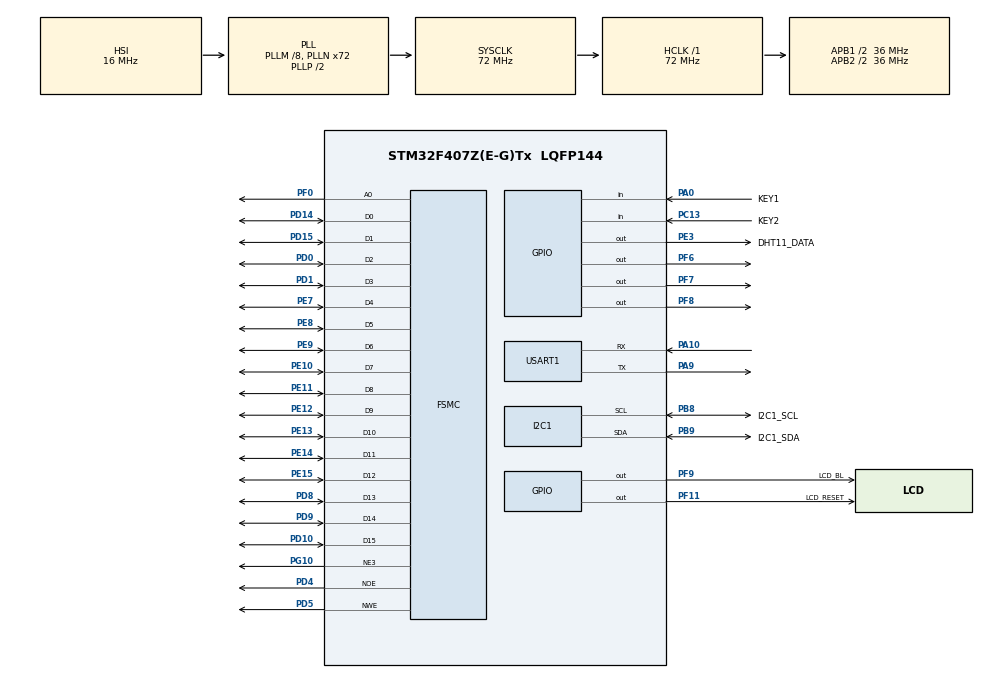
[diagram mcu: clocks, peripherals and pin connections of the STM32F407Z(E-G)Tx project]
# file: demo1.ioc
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FSMC.AddressSetupTime1=0
FSMC.BusTurnAroundDuration1=0
FSMC.DataSetupTime1=26
FSMC.ExtendedAddressSetupTime1=0
FSMC.ExtendedBusTurnAroundDuration1=0
FSMC.ExtendedDataSetupTime1=1
FSMC.ExtendedMode1=FSMC_EXTENDED_MODE_ENABLE
Mcu.Family=STM32F4
Mcu.Name=STM32F407Z(E-G)Tx
Mcu.Package=LQFP144
NVIC.PriorityGroup=NVIC_PRIORITYGROUP_4
NVIC.TIM3_IRQn=true\:0\:0\:false\:false\:true\:true\:true\:true
NVIC.USART1_IRQn=true\:0\:0\:false\:false\:true\:true\:true\:true
PA0-WKUP.GPIO_Label=KEY1
PA0-WKUP.Signal=GPIO_Input
PA10.Mode=Asynchronous
PA10.Signal=USART1_RX
PA9.Mode=Asynchronous
PA9.Signal=USART1_TX
PB8.GPIO_Label=I2C1_SCL
PB8.Mode=I2C
PB8.Signal=I2C1_SCL
PB9.GPIO_Label=I2C1_SDA
PB9.Mode=I2C
PB9.Signal=I2C1_SDA
PC13-ANTI_TAMP.GPIO_Label=KEY2
PC13-ANTI_TAMP.Signal=GPIO_Input
PD0.Signal=FSMC_D2_DA2
PD1.Signal=FSMC_D3_DA3
PD10.Signal=FSMC_D15_DA15
PD14.Signal=FSMC_D0_DA0
PD15.Signal=FSMC_D1_DA1
PD4.Signal=FSMC_NOE
PD5.Signal=FSMC_NWE
PD8.Signal=FSMC_D13_DA13
PD9.Signal=FSMC_D14_DA14
PE10.Signal=FSMC_D7_DA7
PE11.Signal=FSMC_D8_DA8
PE12.Signal=FSMC_D9_DA9
PE13.Signal=FSMC_D10_DA10
PE14.Signal=FSMC_D11_DA11
PE15.Signal=FSMC_D12_DA12
PE3.GPIO_Label=DHT11_DATA
PE3.Signal=GPIO_Output
PE7.Signal=FSMC_D4_DA4
PE8.Signal=FSMC_D5_DA5
PE9.Signal=FSMC_D6_DA6
PF0.Signal=FSMC_A0
PF11.GPIO_Label=LCD_RESET
PF11.Signal=GPIO_Output
PF6.Signal=GPIO_Output
PF7.Signal=GPIO_Output
PF8.Signal=GPIO_Output
PF9.GPIO_Label=LCD_BL
PF9.Signal=GPIO_Output
PG10.Mode=NorPsramChipSelect3_1
PG10.Signal=FSMC_NE3
ProjectManager.HeapSize=0x200
ProjectManager.StackSize=0x400
ProjectManager.TargetToolchain=STM32CubeIDE
RCC.48MHZClocksFreq_Value=36000000
RCC.AHBFreq_Value=72000000
RCC.APB1CLKDivider=RCC_HCLK_DIV2
RCC.APB1Freq_Value=36000000
RCC.APB1TimFreq_Value=72000000
RCC.APB2CLKDivider=RCC_HCLK_DIV2
RCC.APB2Freq_Value=36000000
RCC.APB2TimFreq_Value=72000000
RCC.CortexFreq_Value=72000000
RCC.HCLKFreq_Value=72000000
RCC.HSE_VALUE=25000000
RCC.HSI_VALUE=16000000
RCC.LSE_VALUE=32768
RCC.PLLM=8
RCC.PLLN=72
RCC.SYSCLKFreq_VALUE=72000000
RCC.SYSCLKSource=RCC_SYSCLKSOURCE_PLLCLK
RCC.VCOOutputFreq_Value=144000000
SH.FSMC_A0.0=FSMC_A0,A0_1
SH.FSMC_D0_DA0.0=FSMC_D0,16b-d1
SH.FSMC_D10_DA10.0=FSMC_D10,16b-d1
SH.FSMC_D11_DA11.0=FSMC_D11,16b-d1
SH.FSMC_D12_DA12.0=FSMC_D12,16b-d1
SH.FSMC_D13_DA13.0=FSMC_D13,16b-d1
SH.FSMC_D14_DA14.0=FSMC_D14,16b-d1
SH.FSMC_D15_DA15.0=FSMC_D15,16b-d1
SH.FSMC_D1_DA1.0=FSMC_D1,16b-d1
SH.FSMC_D2_DA2.0=FSMC_D2,16b-d1
SH.FSMC_D3_DA3.0=FSMC_D3,16b-d1
SH.FSMC_D4_DA4.0=FSMC_D4,16b-d1
SH.FSMC_D5_DA5.0=FSMC_D5,16b-d1
SH.FSMC_D6_DA6.0=FSMC_D6,16b-d1
SH.FSMC_D7_DA7.0=FSMC_D7,16b-d1
SH.FSMC_D8_DA8.0=FSMC_D8,16b-d1
SH.FSMC_D9_DA9.0=FSMC_D9,16b-d1
SH.FSMC_NOE.0=FSMC_NOE,Lcd1
SH.FSMC_NWE.0=FSMC_NWE,Lcd1
TIM3.Prescaler=71
USART1.VirtualMode=VM_ASYNC
VP_TIM3_VS_ClockSourceINT.Mode=Internal
board=custom

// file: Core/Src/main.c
/* USER CODE BEGIN Header */
/**
  ******************************************************************************
  * @file           : main.c
  * @brief          : Main program body
  ******************************************************************************
  * @attention
  *
  * Copyright (c) 2022 STMicroelectronics.
  * All rights reserved.
  *
  * This software is licensed under terms that can be found in the LICENSE file
  * in the root directory of this software component.
  * If no LICENSE file comes with this software, it is provided AS-IS.
  *
  ******************************************************************************
  */
/* USER CODE END Header */
#include "main.h"
#include "i2c.h"
#include "tim.h"
#include "usart.h"
#include "gpio.h"
#include "fsmc.h"

/* USER CODE BEGIN Includes */
#include "D:\Clion-STM32-FILMs\demo1\Drivers\LED\led.h"
#include "D:\Clion-STM32-FILMs\demo1\Drivers\FONT\font.h"
#include "D:\Clion-STM32-FILMs\demo1\Drivers\LCD\lcd.h"
#include "stdio.h"
#include "string.h"

#include "D:\Clion-STM32-FILMs\demo1\Drivers\KEY\key.h"
#include "D:\Clion-STM32-FILMs\demo1\Drivers\DHT11\dht11.h"
#include "D:\Clion-STM32-FILMs\demo1\Drivers\MPU6050\mpu6050.h"
#include "D:\Clion-STM32-FILMs\demo1\Drivers\MPU6050\eMPL\inv_mpu.h"
/* USER CODE END Includes */

void SystemClock_Config(void);

/* USER CODE BEGIN 0 */

#ifdef __GNUC__
#define PUTCHAR_PROTOTYPE int __io_putchar(int ch)
#else
#define PUTCHAR_PROTOTYPE int fputc(int ch, FILE *f)
#endif /* __GNUC__ */

PUTCHAR_PROTOTYPE
{
    HAL_UART_Transmit(&huart1 , (uint8_t *)&ch, 1, 0xFFFF);

    //HAL_UART_Receive_IT(&huart1, (uint8_t *)&ch, 1);
    return ch;
}

void LCD_Test(void)
{
    /*演示显示变量*/
    static uint8_t testCNT = 0;
    testCNT++;

    LCD_SetFont(&Font16x32);
    LCD_SetColors(RED,WHITE);

    NT35510_Clear(0,0,LCD_X_LENGTH,LCD_Y_LENGTH);	/* 清屏，显示全�??????? */
    /********显示字符串示�???????*******/
    NT35510_DispStringLine_EN(LINE(0),"YH 4.3 inch LCD");
    NT35510_DispStringLine_EN(LINE(1),"resolution:480x800px");
    NT35510_DispStringLine_EN(LINE(2),"LCD driver:NT35510");
    NT35510_DispStringLine_EN(LINE(3),"Touch driver:GT917S");
    LCD_SetTextColor(BLACK);
    NT35510_DispStringLine_EN(LINE(4),"LCD READY!");

    /********显示变量示例*******/
    LCD_SetTextColor(GREEN);

    /*使用c标准库把变量转化成字符串*/
//    sprintf(dispBuff,"Count : %d ",testCNT);
//    NT35510_ClearLine(LINE(6));	/* 清除单行文字 */

    /*然后显示该字符串即可，其它变量也是这样处�???????*/
//    NT35510_DispStringLine_EN(LINE(6),dispBuff);
//    LCD_SetTextColor(BLUE2);
    /*******显示图形示例******/
    /* 画直�??????? */

//    NT35510_ClearLine(LINE(10));/* 清除单行文字 */
//    LCD_SetTextColor(CYAN);
//
//    NT35510_DispStringLine_EN(LINE(10),"You are");

//	LCD_SetTextColor(RED);
//  NT35510_DrawLine(50,270,420,275);
//  NT35510_DrawLine(50,300,420,375);
//
//	LCD_SetTextColor(GREEN);
//  NT35510_DrawLine(50,370,420,475);
//  NT35510_DrawLine(50,400,420,475);
//
//	LCD_SetTextColor(BLUE);
//  NT35510_DrawLine(50,420,420,325);
//  NT35510_DrawLine(50,450,420,395);
//
//    HAL_Delay(100);

//  NT35510_Clear(0,32*7,LCD_X_LENGTH,LCD_Y_LENGTH-32*7);	/* 清屏，显示全�??????? */

    /*画矩�???????*/

//    NT35510_ClearLine(LINE(10));	/* 清除单行文字 */
//    LCD_SetTextColor(GRED);
//
//    NT35510_DispStringLine_EN(LINE(10),"MY");

//	LCD_SetTextColor(RED);
//  NT35510_DrawRectangle(50,300,200,100,1);
//
//	LCD_SetTextColor(GREEN);
//  NT35510_DrawRectangle(100,300,200,120,0);
//
//	LCD_SetTextColor(BLUE);
//  NT35510_DrawRectangle(250,300,200,150,1);
//
//
//    HAL_Delay(100);

//	NT35510_Clear(0,32*7,LCD_X_LENGTH,LCD_Y_LENGTH-32*7);	/* 清屏，显示全�??????? */

    /* 画圆 */
//    NT35510_ClearLine(LINE(10));	/* 清除单行文字 */
//    LCD_SetTextColor(MAGENTA);
//
//    NT35510_DispStringLine_EN(LINE(10),"Little Baby Girl");

//	LCD_SetTextColor(RED);
//	NT35510_DrawCircle(150,400,60,1);

//	LCD_SetTextColor(GREEN);
//	NT35510_DrawCircle(250,400,60,0);

//	LCD_SetTextColor(BLUE);
//	NT35510_DrawCircle(350,400,60,1);

//    HAL_Delay(100);

//  NT35510_Clear(0,32*7,LCD_X_LENGTH,LCD_Y_LENGTH-32*7);	/* 清屏，显示全�??????? */

}

void User_init()
{
    LED_G_OFF();
    LED_B_OFF();
    LED_R_OFF();
    NT35510_Init();
}

/* USER CODE END 0 */

int main(void)
{
  /* USER CODE BEGIN 1 */
    uint8_t key_flag=0;
    //***********************  dht11  ***************************

    uint8_t temperature = 1;                     //温度�??
    uint8_t humidity = 1;                        //湿度�??

    char* CntState = "No Connect!\r\n";          //连接状�??
    uint8_t aTxBuffer_tem[50];                       //打印温度信息
    uint8_t aTxBuffer_hum[50];                       //打印湿度信息
    uint8_t key=0;
    //***********************  mpu6050  ***************************
    float pitch,roll,yaw; 		//欧拉�?
    short aacx,aacy,aacz;		//加�?�度传感器原始数�?
    short gyrox,gyroy,gyroz;	//�?螺仪原始数据
    float temp;					//温度

    char *aTxBuffer_atti[30];     //声明sprintf的存储数�?

    /* USER CODE END 1 */

  /* MCU Configuration--------------------------------------------------------*/

  /* Reset of all peripherals, Initializes the Flash interface and the Systick. */
  HAL_Init();

  /* Configure the system clock */
  SystemClock_Config();

  /* Initialize all configured peripherals */
  MX_GPIO_Init();
  MX_FSMC_Init();
  MX_TIM3_Init();
  MX_USART1_UART_Init();
  MX_I2C1_Init();
  /* USER CODE BEGIN 2 */
  //*****************  dht11 ***********************************
    DHT11_Rst();                                   //复位DHT11
    while(DHT11_Check())                           //�??测DHT11连接
    {
        HAL_UART_Transmit(&huart1, CntState, strlen(CntState), 200);
        HAL_Delay(500);
    }
    CntState = "Success!\r\n";
    HAL_UART_Transmit(&huart1, CntState, strlen(CntState), 200);
    LCD_SetTextColor(BLACK);
    NT35510_DispStringLine_EN(LINE(6),"DHT11 INIT OK!");

    User_init();

    LCD_Test();
    printf("init OK!\r\n");
    LCD_SetTextColor(BLACK);
    NT35510_DispStringLine_EN(LINE(5),"INIT OK!");
    //******************  mpu6050  **********************************
    HAL_UART_Transmit(&huart1, "UART1 Ready!\r\n", sizeof("UART1 Ready!\r\n"),200);
    LCD_SetTextColor(BLACK);
    NT35510_DispStringLine_EN(LINE(7),"MPU6050 INIT OK!");

    while(MPU_Init());					//初始化MPU6050
    while(mpu_dmp_init())
    {
        HAL_Delay(200);
        HAL_UART_Transmit(&huart1, "MPU6050 Init Wrong!\r\n", sizeof("MPU6050 Init Wrong!\r\n"),200);
    }
    HAL_UART_Transmit(&huart1, "MPU6050 Init OK!\r\n", sizeof("MPU6050 Init OK!\r\n"),200);
  /* USER CODE END 2 */

  /* Infinite loop */
  while (1) {

    /* USER CODE BEGIN 3 */
      DHT11_Read_Data(&humidity, &temperature);                        //�??测出温湿度的�??
      sprintf(aTxBuffer_tem, "temperature:%d ^C\r\n", temperature);         //打印温度的�??
      sprintf(aTxBuffer_hum, "humidity:%d%%\r\n", humidity);         //打印湿度的�??

      key = KEY_Scan(0);
      if (key)
      {
          NT35510_ClearLine(LINE(0));
          NT35510_ClearLine(LINE(1));
          NT35510_ClearLine(LINE(2));
          NT35510_ClearLine(LINE(3));
          NT35510_ClearLine(LINE(4));
          NT35510_ClearLine(LINE(5));
          if (key == KEY1_PRES) {
              key_flag=0;
              LED_R_ON();
              LED_G_OFF();
              printf("KEY1 ON \r\nshow temperature & humidity:\r\n");
              printf(aTxBuffer_tem);
              printf(aTxBuffer_hum);
              printf("-------------------------------------------\r\n");
              printf("\r\n");

              LCD_SetTextColor(MAGENTA);
              NT35510_ClearLine(LINE(6));
              NT35510_DispStringLine_EN(LINE(6),"KEY1 ON");
              NT35510_ClearLine(LINE(7));
              NT35510_DispStringLine_EN(LINE(7),"show temperature & humidity:");
              NT35510_ClearLine(LINE(8));
              NT35510_DispStringLine_EN(LINE(8),"please check in Serial Monitor!");
          }
          else if (key == KEY2_PRES)
          {
              key_flag=1;
              LED_G_ON();
              LED_R_OFF();
              printf("KEY2 ON \r\nshow attitude information:\r\n");

              LCD_SetTextColor(CYAN);
              NT35510_ClearLine(LINE(6));
              NT35510_DispStringLine_EN(LINE(6),"KEY2 ON");
              NT35510_ClearLine(LINE(7));
              NT35510_DispStringLine_EN(LINE(7),"show attitude information:");
              NT35510_ClearLine(LINE(8));
              NT35510_DispStringLine_EN(LINE(8),"please check in Serial Monitor!");

          }
      }
      if (key_flag==1)
      {
          if(mpu_dmp_get_data(&pitch,&roll,&yaw)==0)
          {
//          temp=MPU_Get_Temperature();
//          temp=temp/100.0;                            //得到温度
              MPU_Get_Accelerometer(&aacx,&aacy,&aacz);	//得到加�?�度传感器数�?
              MPU_Get_Gyroscope(&gyrox,&gyroy,&gyroz);	//得到�?螺仪数据

              sprintf(aTxBuffer_atti, "Euler Angle:pitch= %f , roll= %f , yaw= %f .\r\n", pitch, roll, yaw);
              //HAL_UART_Transmit(&huart1,aTxBuffer,strlen((const char*)aTxBuffer),200);          //打印欧拉�?
              printf(aTxBuffer_atti);

              sprintf(aTxBuffer_atti, "Accelerometer Raw Data:aacx= %d , aacy= %d , aacz= %d .\r\n", aacx, aacy, aacz);
              // HAL_UART_Transmit(&huart1,aTxBuffer_atti,strlen((const char*)aTxBuffer_atti),200);           //打印加�?�度传感器数�?
              printf(aTxBuffer_atti);
              sprintf(aTxBuffer_atti, "Gyroscope Raw Data:gyrox= %d , gyroy= %d , gyroz= %d .\r\n", gyrox, gyroy, gyroz);
              // HAL_UART_Transmit(&huart1,aTxBuffer_atti,strlen((const char*)aTxBuffer_atti),200);          //打印�?螺仪数据
              printf(aTxBuffer_atti);
              printf("-------------------------------------------\r\n");
              printf("\r\n");

//          sprintf(aTxBuffer_atti,"The current temperature= %f .\r\n", temp);
//          //HAL_UART_Transmit(&huart1,aTxBuffer,strlen((const char*)aTxBuffer),200);          //打印温度
//          printf(aTxBuffer_atti);
//          //HAL_UART_Transmit(&huart1, "\r\n", sizeof("\r\n"),200);
          }
          HAL_Delay(100);
      }

  }
  /* USER CODE END 3 */
}

void SystemClock_Config(void)
{
  RCC_OscInitTypeDef RCC_OscInitStruct = {0};
  RCC_ClkInitTypeDef RCC_ClkInitStruct = {0};

  /** Configure the main internal regulator output voltage
  */
  __HAL_RCC_PWR_CLK_ENABLE();
  __HAL_PWR_VOLTAGESCALING_CONFIG(PWR_REGULATOR_VOLTAGE_SCALE1);

  /** Initializes the RCC Oscillators according to the specified parameters
  * in the RCC_OscInitTypeDef structure.
  */
  RCC_OscInitStruct.OscillatorType = RCC_OSCILLATORTYPE_HSI;
  RCC_OscInitStruct.HSIState = RCC_HSI_ON;
  RCC_OscInitStruct.HSICalibrationValue = RCC_HSICALIBRATION_DEFAULT;
  RCC_OscInitStruct.PLL.PLLState = RCC_PLL_ON;
  RCC_OscInitStruct.PLL.PLLSource = RCC_PLLSOURCE_HSI;
  RCC_OscInitStruct.PLL.PLLM = 8;
  RCC_OscInitStruct.PLL.PLLN = 72;
  RCC_OscInitStruct.PLL.PLLP = RCC_PLLP_DIV2;
  RCC_OscInitStruct.PLL.PLLQ = 4;
  if (HAL_RCC_OscConfig(&RCC_OscInitStruct) != HAL_OK)
  {
    Error_Handler();
  }

  /** Initializes the CPU, AHB and APB buses clocks
  */
  RCC_ClkInitStruct.ClockType = RCC_CLOCKTYPE_HCLK|RCC_CLOCKTYPE_SYSCLK
                              |RCC_CLOCKTYPE_PCLK1|RCC_CLOCKTYPE_PCLK2;
  RCC_ClkInitStruct.SYSCLKSource = RCC_SYSCLKSOURCE_PLLCLK;
  RCC_ClkInitStruct.AHBCLKDivider = RCC_SYSCLK_DIV1;
  RCC_ClkInitStruct.APB1CLKDivider = RCC_HCLK_DIV2;
  RCC_ClkInitStruct.APB2CLKDivider = RCC_HCLK_DIV2;

  if (HAL_RCC_ClockConfig(&RCC_ClkInitStruct, FLASH_LATENCY_2) != HAL_OK)
  {
    Error_Handler();
  }
}

void Error_Handler(void)
{
  __disable_irq();
  while (1)
  {
  }
}
